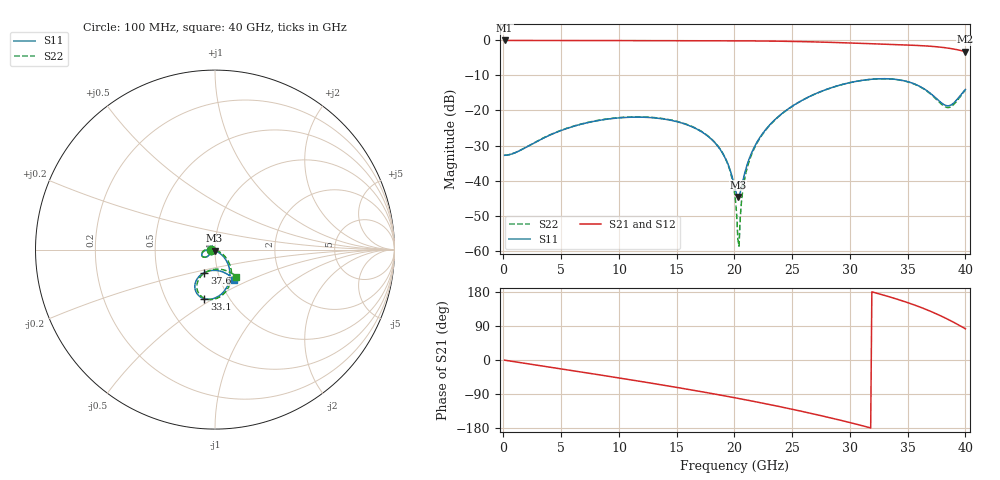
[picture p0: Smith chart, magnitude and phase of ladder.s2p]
! B_s8_L1L8_d300: via ladder as kisi uses it (kisi_si::via_pbm, graded grid, junction model), ports at the via
# Hz S RI R 50
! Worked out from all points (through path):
!   400 points, 100 MHz to 40 GHz, reference 50 ohm
!   highest |S21| = -0.20 dB at 100 MHz (marker M1); lowest = -3.4 dB at 40 GHz (marker M2)
!   group delay of S21, straight-line fit = 17.5 ps
!   lowest |S11| = -44.6 dB at 20.3 GHz (marker M3), VSWR 1.01, Z = 49.8 - j0.539 ohm
!   |S11| at or under -10 dB: start of sweep to end of sweep
!   |S22| runs from -58.5 to -11.1 dB; largest |S21 - S12| = 0
!   S11 on the Smith chart (normalised r, x): 100 MHz: 0.96, -0.00; 33.1 GHz: 0.77, -0.46; 37.6 GHz: 0.86, -0.23; 40 GHz: 1.16, -0.40
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1e8  -0.023 -0.000814  0.977 -0.00798  0.977 -0.00798  -0.023 -0.00082
6.8e9  -0.0488 -0.0412  0.8268 -0.5162  0.8268 -0.5162  -0.0495 -0.0412
1.34e10  -0.0732 -0.0242  0.4239 -0.8741  0.4239 -0.8741  -0.0744 -0.0225
1.63e10  -0.0582 -0.00697  0.1837 -0.9526  0.1837 -0.9526  -0.0591 -0.00406
1.83e10  -0.0348 -0.000651  0.00224 -0.9687  0.00224 -0.9687  -0.035 0.00325
1.95e10  -0.0162 -0.0018  -0.1106 -0.9608  -0.1106 -0.9608  -0.0157 0.00271
2.01e10  -0.00588 -0.00428  -0.1675 -0.9515  -0.1675 -0.9515  -0.00505 0.000546
2.03e10  -0.00233 -0.00542  -0.1865 -0.9476  -0.1865 -0.9476  -0.00137 -0.000494
2.04e10  -0.000543 -0.00605  -0.1961 -0.9455  -0.1961 -0.9455  0.000496 -0.00108
2.05e10  0.00125 -0.00673  -0.2056 -0.9432  -0.2056 -0.9432  0.00237 -0.0017
2.06e10  0.00307 -0.00745  -0.2151 -0.9409  -0.2151 -0.9409  0.00426 -0.00237
2.09e10  0.00854 -0.00987  -0.2435 -0.9332  -0.2435 -0.9332  0.00997 -0.00465
2.18e10  0.0252 -0.0196  -0.3284 -0.9043  -0.3284 -0.9043  0.0274 -0.014
2.37e10  0.0579 -0.0533  -0.5007 -0.8126  -0.5007 -0.8126  0.0623 -0.047
2.67e10  0.0834 -0.1395  -0.7294 -0.5835  -0.7294 -0.5835  0.0923 -0.1333
3e10  0.0404 -0.2434  -0.8697 -0.2317  -0.8697 -0.2317  0.0545 -0.2405
3.31e10  -0.0595 -0.2738  -0.8497 0.1555  -0.8497 0.1555  -0.0441 -0.2763
3.34e10  -0.0693 -0.2703  -0.8381 0.1945  -0.8381 0.1945  -0.0542 -0.2734
3.57e10  -0.1123 -0.2032  -0.6722 0.4902  -0.6722 0.4902  -0.1011 -0.2075
3.76e10  -0.0598 -0.1282  -0.3995 0.6848  -0.3995 0.6848  -0.0524 -0.1268
3.87e10  0.0137 -0.117  -0.1824 0.7296  -0.1824 0.7296  0.022 -0.1092
4e10  0.1047 -0.1673  0.0903 0.6724  0.0903 0.6724  0.1192 -0.1521
